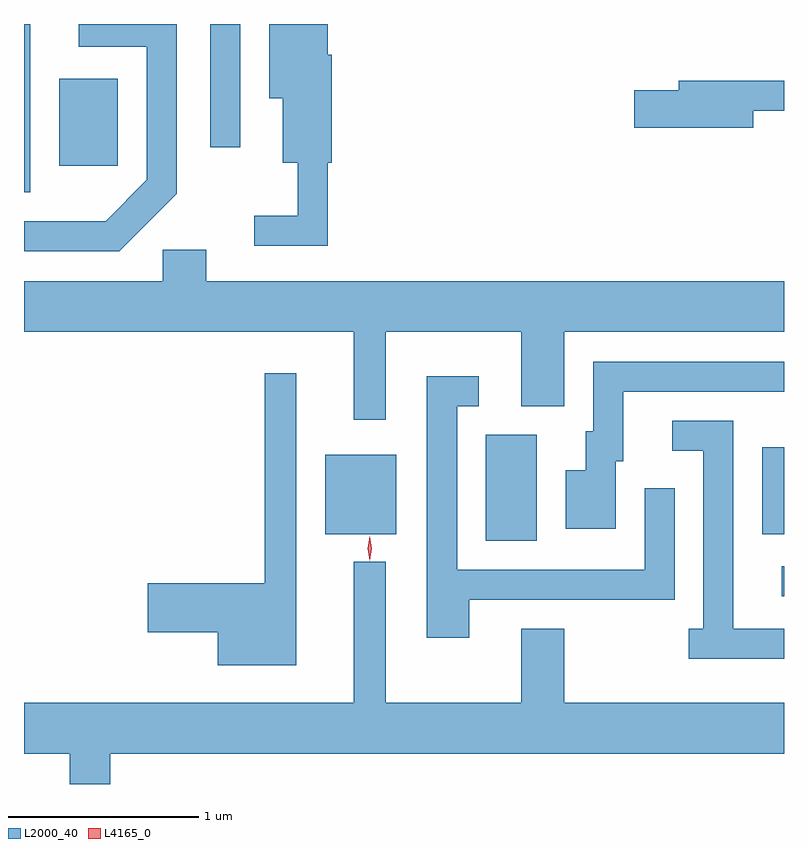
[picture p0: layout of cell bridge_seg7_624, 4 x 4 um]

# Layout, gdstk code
import gdstk
lib = gdstk.Library(unit=1e-6, precision=1e-09)
def R(c, l, rs):  # rectangles x0, y0, x1, y1
    for r in rs: c.add(gdstk.rectangle(r[:2], r[2:], *l))
def P(c, l, *ps):  # polygons
    for p in ps: c.add(gdstk.Polygon(p, *l))
L2000_40 = (2000, 40)
L4165_0 = (4165, 0)

bridge_seg7_624 = lib.new_cell('bridge_seg7_624')
R(bridge_seg7_624, L2000_40, [(708.143,1670.746,708.155,1670.904), (706.586,1671.036,706.854,1671.594), (705.741,1671.071,706.114,1671.489), (708.041,1671.071,708.155,1671.529), (704.155,1672.871,704.189,1673.757), (704.341,1673.011,704.649,1673.469), (705.136,1673.108,705.294,1673.757)])
P(bridge_seg7_624, L2000_40, [(704.959,1672.864),(704.959,1673.757),(704.443,1673.757),(704.443,1673.636),(704.801,1673.636),(704.801,1672.937),(704.584,1672.719),(704.155,1672.719),(704.155,1672.561),(704.657,1672.561)],
  [(705.754,1673.026),(705.774,1673.026),(705.774,1673.594),(705.754,1673.594),(705.754,1673.757),(705.446,1673.757),(705.446,1673.366),(705.516,1673.366),(705.516,1673.026),(705.596,1673.026),(705.596,1672.749),(705.368,1672.749),(705.368,1672.591),(705.754,1672.591)],
  [(707.994,1673.301),(708.155,1673.301),(708.155,1673.459),(707.601,1673.459),(707.601,1673.409),(707.366,1673.409),(707.366,1673.211),(707.994,1673.211)],
  [(706.059,1672.136),(706.771,1672.136),(706.771,1671.746),(706.999,1671.746),(706.999,1672.136),(708.155,1672.136),(708.155,1672.404),(705.114,1672.404),(705.114,1672.569),(704.886,1672.569),(704.886,1672.404),(704.155,1672.404),(704.155,1672.136),(705.891,1672.136),(705.891,1671.673),(706.059,1671.673)],
  [(707.269,1671.456),(707.309,1671.456),(707.309,1671.821),(708.155,1671.821),(708.155,1671.979),(707.151,1671.979),(707.151,1671.614),(707.111,1671.614),(707.111,1671.409),(707.006,1671.409),(707.006,1671.101),(707.269,1671.101)],
  [(705.589,1671.918),(705.421,1671.918),(705.421,1670.814),(704.806,1670.814),(704.806,1670.556),(705.176,1670.556),(705.176,1670.381),(705.589,1670.381)],
  [(706.499,1670.726),(707.579,1670.726),(707.579,1671.313),(707.421,1671.313),(707.421,1670.884),(706.434,1670.884),(706.434,1671.746),(706.548,1671.746),(706.548,1671.904),(706.276,1671.904),(706.276,1670.526),(706.499,1670.526)],
  [(708.155,1670.574),(707.889,1670.574),(707.889,1671.669),(707.568,1671.669),(707.568,1671.511),(707.731,1671.511),(707.731,1670.574),(707.653,1670.574),(707.653,1670.416),(708.155,1670.416)],
  [(704.609,1669.916),(708.155,1669.916),(708.155,1670.184),(706.999,1670.184),(706.999,1670.574),(706.771,1670.574),(706.771,1670.184),(706.059,1670.184),(706.059,1670.928),(705.891,1670.928),(705.891,1670.184),(704.155,1670.184),(704.155,1669.916),(704.396,1669.916),(704.396,1669.757),(704.609,1669.757)])
P(bridge_seg7_624, L4165_0, [(705.974,1670.933),(705.965,1670.997),(705.974,1671.061),(705.975,1671.061),(705.975,1671.061),(705.985,1670.997),(705.975,1670.933),(705.975,1670.933)])

lib.write_gds('bridge_seg7_624.gds')
